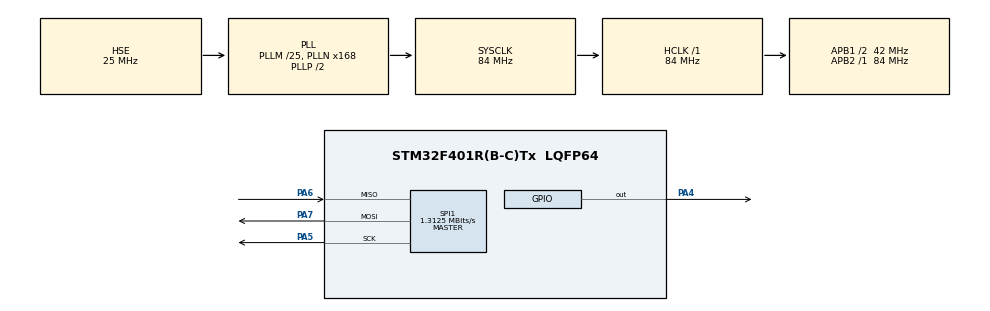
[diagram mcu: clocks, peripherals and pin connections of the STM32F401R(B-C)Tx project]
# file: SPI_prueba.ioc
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Mcu.Family=STM32F4
Mcu.Name=STM32F401R(B-C)Tx
Mcu.Package=LQFP64
NVIC.PriorityGroup=NVIC_PRIORITYGROUP_4
PA4.PinState=GPIO_PIN_SET
PA4.Signal=GPIO_Output
PA5.Mode=Full_Duplex_Master
PA5.Signal=SPI1_SCK
PA6.Mode=Full_Duplex_Master
PA6.Signal=SPI1_MISO
PA7.Mode=Full_Duplex_Master
PA7.Signal=SPI1_MOSI
PH0\ -\ OSC_IN.Mode=HSE-External-Oscillator
PH0\ -\ OSC_IN.Signal=RCC_OSC_IN
PH1\ -\ OSC_OUT.Mode=HSE-External-Oscillator
PH1\ -\ OSC_OUT.Signal=RCC_OSC_OUT
ProjectManager.HeapSize=0x200
ProjectManager.StackSize=0x400
ProjectManager.TargetToolchain=STM32CubeIDE
RCC.48MHZClocksFreq_Value=42000000
RCC.AHBFreq_Value=84000000
RCC.APB1CLKDivider=RCC_HCLK_DIV2
RCC.APB1Freq_Value=42000000
RCC.APB1TimFreq_Value=84000000
RCC.APB2Freq_Value=84000000
RCC.APB2TimFreq_Value=84000000
RCC.CortexFreq_Value=84000000
RCC.HCLKFreq_Value=84000000
RCC.HSE_VALUE=25000000
RCC.HSI_VALUE=16000000
RCC.LSE_VALUE=32768
RCC.PLLM=25
RCC.PLLN=168
RCC.PLLSourceVirtual=RCC_PLLSOURCE_HSE
RCC.SYSCLKFreq_VALUE=84000000
RCC.SYSCLKSource=RCC_SYSCLKSOURCE_PLLCLK
RCC.VCOOutputFreq_Value=168000000
SPI1.BaudRatePrescaler=SPI_BAUDRATEPRESCALER_64
SPI1.CLKPhase=SPI_PHASE_2EDGE
SPI1.CLKPolarity=SPI_POLARITY_HIGH
SPI1.CalculateBaudRate=1.3125 MBits/s
SPI1.Direction=SPI_DIRECTION_2LINES
SPI1.Mode=SPI_MODE_MASTER
SPI1.VirtualType=VM_MASTER
board=custom

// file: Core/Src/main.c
/* USER CODE BEGIN Header */
/**
  ******************************************************************************
  * @file           : main.c
  * @brief          : Main program body
  ******************************************************************************
  * @attention
  *
  * Copyright (c) 2023 STMicroelectronics.
  * All rights reserved.
  *
  * This software is licensed under terms that can be found in the LICENSE file
  * in the root directory of this software component.
  * If no LICENSE file comes with this software, it is provided AS-IS.
  *
  ******************************************************************************
  */
/* USER CODE END Header */
#include "main.h"
#include "spi.h"
#include "gpio.h"

/* USER CODE BEGIN PTD */
typedef enum
{
	IDDLE_EN_LCD,
	LECTURA_A_LCD
} debounceState_t;

/* USER CODE END PTD */

/* USER CODE BEGIN PD */

#define SPI1_PORT GPIOA
#define SPI1_PORT_MISO GPIOA
#define SPI1_PIN_MISO GPIO_PIN_6
#define SPI1_PORT_MOSI GPIOA
#define SPI1_PIN_MOSI GPIO_PIN_7
#define SPI1_PORT_SCLK GPIOA
#define SPI1_PIN_SCLK GPIO_PIN_5
#define SPI1_PORT_CS GPIOA
#define SPI1_PIN_CS GPIO_PIN_4

#define SPI1_PIN_CS_ON GPIO_PIN_SET
#define SPI1_PIN_CS_OFF GPIO_PIN_RESET

#define TIMEOUT 100

#define ADXL_DEVID 0x00
#define ADXL_THRESH_TAP 0x1D
#define ADXL_OFSX 0x1E
#define ADXL_OFSY 0x1F
#define ADXL_OFSZ 0x20
#define ADXL_DUR 0X21
#define ADXL_LATENT 0X22
#define ADXL_WINDOW 0X23
#define ADXL_THRESH_ACT 0x24
#define ADXL_THRESH_INACT 0x25
#define ADXL_TIME_INACT 0x26
#define ADXL_ACT_INACT_CTL 0X27
#define ADXL_THRESH_FF 0X28
#define ADXL_TIME_FF 0X29
#define ADXL_TAP_AXES 0X2A
#define ADXL_ACT_TAP_STATUS 0X2B
#define ADXL_BW_RATE 0X2C
#define ADXL_POWER_CTL 0X2D
#define ADXL_INT_ENABLE 0X2E
#define ADXL_INT_MAP 0X2F
#define ADXL_INT_SOURCE 0X30
#define ADXL_DATA_FORMAT 0X31
#define ADXL_DATAX0 0X32
#define ADXL_DATAX1 0X33
#define ADXL_DATAY0 0X34
#define ADXL_DATAY1 0X35
#define ADXL_DATAZ0 0X36
#define ADXL_DATAZ1 0X37
#define ADXL_FIFO_CTL 0X38
#define ADXL_FIFO_STATUS 0X39
/*Configuracion Reg ADXL_POWER_CTL Medicion y Frecuencia*/
#define P_CTL_MEAS_FREQ8 0x08
#define P_CTL_MEAS_FREQ4 0x09
#define P_CTL_MEAS_FREQ2 0x0A
#define P_CTL_MEAS_FREQ1 0x0B

/*Configuracion Reg ADXL_DATA_FORMAT Rango */
#define DATA_FORMAT2G 0x00
#define DATA_FORMAT4G 0x01
#define DATA_FORMAT8G 0x02
#define DATA_FORMAT16G 0x03

#define RESET_VALUE 0X00

#define ENABLE_MB_E 0x40
#define ENABLE_MB_L 0xC0
#define ENABLE_B_E 0x40
#define ENABLE_B_L 0xC0

#define NUM_BYTE_E 2
#define NUM_BYTE_L 1
#define NUM_BYTE_XYZ 6
/* USER CODE END PD */

/* USER CODE BEGIN PV */
uint8_t byte_xyzLec[10];
int8_t x,y,z;
float xg, yg, zg;

 debounceState_t estadoActual;
//delay_t tiempoRetardo;
/* USER CODE END PV */

void SystemClock_Config(void);
/* USER CODE BEGIN PFP */

/*Funcion de escritu100 msra*/
void adxl345_Escritura (uint8_t address, uint8_t val)
{
	//uint8_t byte[NUM_BYTE_E];
	//byte[0] = address;
	//byte[1] = val;
	//SPI_CS_Bajo();
	HAL_GPIO_WritePin (SPI1_PORT_CS, SPI1_PIN_CS, SPI1_PIN_CS_OFF);

	HAL_SPI_Transmit (&hspi1, (uint8_t*)&address, 1, TIMEOUT); //Funcion SPI
	//SPI_Transmit(byte,NUM_BYTE_E);
	HAL_SPI_Transmit (&hspi1, (uint8_t*)&val, 1, TIMEOUT); //Funcion SPI

	//SPI_CS_Alto();
	HAL_GPIO_WritePin (SPI1_PORT_CS, SPI1_PIN_CS, SPI1_PIN_CS_ON);
}

void adxl345_Lectura (uint8_t address)
{
	address = address| 0x80;

	HAL_GPIO_WritePin (SPI1_PORT_CS, SPI1_PIN_CS, SPI1_PIN_CS_OFF);

	HAL_SPI_Transmit (&hspi1, (uint8_t*)&address, 1, TIMEOUT);

	HAL_SPI_Receive(&hspi1, byte_xyzLec, 1, TIMEOUT);

	HAL_GPIO_WritePin (SPI1_PORT_CS, SPI1_PIN_CS, SPI1_PIN_CS_ON);

}

void adxl345_init (void)
{

	adxl345_Escritura(ADXL_BW_RATE, 0X0E);  // formato de dato +-4g
	HAL_Delay(50);

	adxl345_Escritura(ADXL_DATA_FORMAT, 0x0A);  // formato de dato +-4g
	HAL_Delay(50);

	adxl345_Escritura (ADXL_POWER_CTL, P_CTL_MEAS_FREQ8);  // power_cntl Medicion y "Wake up" a 8hz
	HAL_Delay(50);

}

void debounceFSM_Init()
{
	//delayInit(&tiempoRetardo, TIEMPO_RETARDO);
	estadoActual = IDDLE_EN_LCD;
}

void debounceFSM_Update()
{
	switch (estadoActual)
	{
	case IDDLE_EN_LCD: 	//RUTINA PARA MOSTRAR A LCD
						if(HAL_GPIO_ReadPin(GPIOB, GPIO_PIN_10))
						{
							estadoActual= LECTURA_A_LCD;
							//delayRead(&tiempoRetardo);
						}
					   else
					   {
						   estadoActual= IDDLE_EN_LCD;
					   }
	break;

	case LECTURA_A_LCD: 	//RUTINA PARA MOSTRAR A LCD
							if (HAL_GPIO_ReadPin(GPIOB, GPIO_PIN_10))
							{
								estadoActual= LECTURA_A_LCD;
							}
							else
							{
								estadoActual= LECTURA_A_LCD;
							}

	break;
	default: estadoActual= IDDLE_EN_LCD;

	}

}

/* USER CODE END PFP */

int main(void)
{

  /* MCU Configuration--------------------------------------------------------*/

  /* Reset of all peripherals, Initializes the Flash interface and the Systick. */
  HAL_Init();

  /* Configure the system clock */
  SystemClock_Config();

  /* Initialize all configured peripherals */
  MX_GPIO_Init();
  MX_SPI1_Init();
  /* USER CODE BEGIN 2 */
  HAL_GPIO_WritePin (SPI1_PORT_CS, SPI1_PIN_CS, SPI1_PIN_CS_ON);

  adxl345_init();

  //adxl345_Lectura(ADXL_DEVID);

  /* USER CODE END 2 */

  /* Infinite loop */
  while (1)
  {

    /* USER CODE BEGIN 3 */

	  //x = ((byte_xyzLec[1]<<8)|byte_xyzLec[0]);
	  //y = ((byte_xyzLec[3]<<8)|byte_xyzLec[2]);
	  //z = ((byte_xyzLec[5]<<8)|byte_xyzLec[4]);
  }
  /* USER CODE END 3 */
}

void SystemClock_Config(void)
{
  RCC_OscInitTypeDef RCC_OscInitStruct = {0};
  RCC_ClkInitTypeDef RCC_ClkInitStruct = {0};

  /** Configure the main internal regulator output voltage
  */
  __HAL_RCC_PWR_CLK_ENABLE();
  __HAL_PWR_VOLTAGESCALING_CONFIG(PWR_REGULATOR_VOLTAGE_SCALE2);

  /** Initializes the RCC Oscillators according to the specified parameters
  * in the RCC_OscInitTypeDef structure.
  */
  RCC_OscInitStruct.OscillatorType = RCC_OSCILLATORTYPE_HSE;
  RCC_OscInitStruct.HSEState = RCC_HSE_ON;
  RCC_OscInitStruct.PLL.PLLState = RCC_PLL_ON;
  RCC_OscInitStruct.PLL.PLLSource = RCC_PLLSOURCE_HSE;
  RCC_OscInitStruct.PLL.PLLM = 25;
  RCC_OscInitStruct.PLL.PLLN = 168;
  RCC_OscInitStruct.PLL.PLLP = RCC_PLLP_DIV2;
  RCC_OscInitStruct.PLL.PLLQ = 4;
  if (HAL_RCC_OscConfig(&RCC_OscInitStruct) != HAL_OK)
  {
    Error_Handler();
  }

  /** Initializes the CPU, AHB and APB buses clocks
  */
  RCC_ClkInitStruct.ClockType = RCC_CLOCKTYPE_HCLK|RCC_CLOCKTYPE_SYSCLK
                              |RCC_CLOCKTYPE_PCLK1|RCC_CLOCKTYPE_PCLK2;
  RCC_ClkInitStruct.SYSCLKSource = RCC_SYSCLKSOURCE_PLLCLK;
  RCC_ClkInitStruct.AHBCLKDivider = RCC_SYSCLK_DIV1;
  RCC_ClkInitStruct.APB1CLKDivider = RCC_HCLK_DIV2;
  RCC_ClkInitStruct.APB2CLKDivider = RCC_HCLK_DIV1;

  if (HAL_RCC_ClockConfig(&RCC_ClkInitStruct, FLASH_LATENCY_2) != HAL_OK)
  {
    Error_Handler();
  }
}

void Error_Handler(void)
{
  __disable_irq();
  while (1)
  {
  }
}
